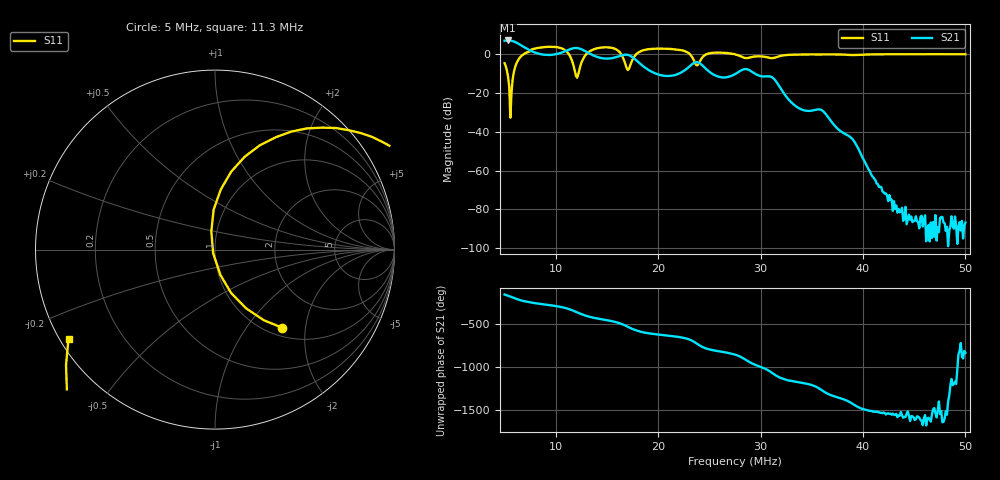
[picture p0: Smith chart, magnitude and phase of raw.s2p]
! S11/S21 only; reverse parameters are placeholders. Device calibration unverified.
! NanoVNA F V2 profile | COM3 | 2026-09-08T12:28:50.7843117-04:00 | device calibration unverified
# HZ S RI R 50
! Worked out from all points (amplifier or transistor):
!   401 points, 5 MHz to 50 MHz, reference 50 ohm
!   highest |S21| = 6.9 dB at 5.338 MHz (marker M1)
!   |S21| within 3 dB of that: start of sweep to 6.771 MHz
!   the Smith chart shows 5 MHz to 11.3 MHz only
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5000000  0.3734 -0.4347  -2.026 -0.7959  0 0  0 0
5337500  0.0896 -0.2416  -2.189 -0.2899  0 0  0 0
6912500  0.7455 0.6652  -0.8399 1.223  0 0  0 0
7250000  0.923 0.6047  -0.5958 1.179  0 0  0 0
7812500  0.51 -1.235  -0.2735 1.087  0 0  0 0
8937500  0.1242 -1.493  0.0717 0.9433  0 0  0 0
1.11875e7  -0.8301 -0.6424  1.008 0.7426  0 0  0 0
1.25375e7  0.6154 0.1088  1.149 -0.6105  0 0  0 0
1.355e7  1.057 -0.682  0.4077 -0.8464  0 0  0 0
1.5125e7  0.5665 -1.349  -0.1227 -0.7457  0 0  0 0
1.65875e7  -0.5739 -0.5123  -0.7895 -0.4985  0 0  0 0
1.74875e7  0.4598 0.5293  -0.7769 0.2615  0 0  0 0
1.83875e7  1.193 0.0809  -0.3061 0.4151  0 0  0 0
2.0075e7  1.261 -0.5069  -0.0321 0.2885  0 0  0 0
2.3675e7  0.3841 -0.3655  0.6103 -0.00322  0 0  0 0
2.49125e7  0.981 -0.2682  0.1057 -0.3444  0 0  0 0
2.75e7  0.7898 -0.569  -0.2164 -0.2091  0 0  0 0
2.93e7  0.7493 -0.3888  -0.1359 0.2977  0 0  0 0
3.50375e7  0.6997 -0.6671  -0.0228 -0.0262  0 0  0 0
3.8975e7  0.5347 -0.7622  0.00629 0.00148  0 0  0 0
4.2575e7  0.4429 -0.8691  -5.7e-05 -0.000227  0 0  0 0
5e7  0.1595 -0.9615  -1.9e-05 -4.2e-05  0 0  0 0
